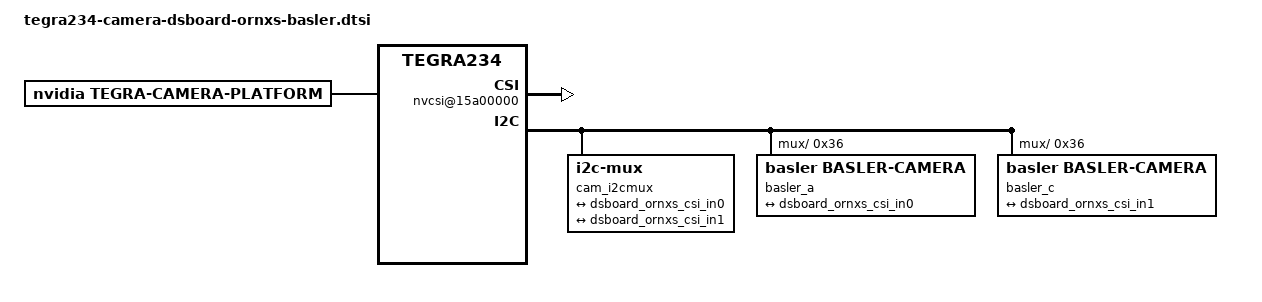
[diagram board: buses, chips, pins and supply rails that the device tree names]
/*
 * Copyright (c) 2022, NVIDIA CORPORATION.  All rights reserved.
 *
 * This program is free software; you can redistribute it and/or modify
 * it under the terms of the GNU General Public License as published by
 * the Free Software Foundation; either version 2 of the License, or
 * (at your option) any later version.
 *
 * This program is distributed in the hope that it will be useful, but WITHOUT
 * ANY WARRANTY; without even the implied warranty of MERCHANTABILITY or
 * FITNESS FOR A PARTICULAR PURPOSE.  See the GNU General Public License for
 * more details.
 *
 * You should have received a copy of the GNU General Public License
 * along with this program.  If not, see <http://www.gnu.org/licenses/>.
 */
#include <dt-bindings/media/camera.h>

/ {
	tegra-capture-vi  {
		num-channels = <2>;
		ports {
			#address-cells = <1>;
			#size-cells = <0>;
			port@0 {
				status = "okay";
				reg = <0>;
				dsboard_ornxs_vi_in0: endpoint {
					status = "okay";
					port-index = <0>;
					bus-width = <2>;
					remote-endpoint = <&dsboard_ornxs_csi_out0>;
				};
			};
			port@1 {
				status = "okay";
				reg = <1>;
				dsboard_ornxs_vi_in1: endpoint {
					status = "okay";
					port-index = <2>;
					bus-width = <2>;
					remote-endpoint = <&dsboard_ornxs_csi_out1>;
				};
			};
		};
	};

	host1x@13e00000 {
		nvcsi@15a00000 {
			num-channels = <2>;
			#address-cells = <1>;
			#size-cells = <0>;
			status = "okay";
			channel@0 {
				status = "okay";
				reg = <0>;
				ports {
					#address-cells = <1>;
					#size-cells = <0>;
					port@0 {
						status = "okay";
						reg = <0>;
						dsboard_ornxs_csi_in0: endpoint@0 {
							status = "okay";
							port-index = <0>;
							bus-width = <2>;
							remote-endpoint = <&dsboard_ornxs_basler_out0>;
						};
					};
					port@1 {
						status = "okay";
						reg = <1>;
						dsboard_ornxs_csi_out0: endpoint@1 {
							status = "okay";
							remote-endpoint = <&dsboard_ornxs_vi_in0>;
						};
					};
				};
			};
			channel@1 {
				status = "okay";
				reg = <1>;
				ports {
					#address-cells = <1>;
					#size-cells = <0>;
					port@0 {
						status = "okay";
						reg = <0>;
						dsboard_ornxs_csi_in1: endpoint@2 {
							status = "okay";
							port-index = <2>;
							bus-width = <2>;
							remote-endpoint = <&dsboard_ornxs_basler_out1>;
						};
					};
					port@1 {
						status = "okay";
						reg = <1>;
						dsboard_ornxs_csi_out1: endpoint@3 {
							status = "okay";
							remote-endpoint = <&dsboard_ornxs_vi_in1>;
						};
					};
				};
			};
		};
	};

	cam_i2cmux {
		i2c@0 {
			status = "okay";

			basler_a@36 {
				status="okay";

				compatible = "basler,basler-camera";
				/* I2C device address */
				reg = <0x36>;

				/* V4L2 device node location */
				devnode = "video0";

				/* Physical dimensions of sensor */
				physical_w = "3.680";
				physical_h = "2.760";

				sensor_model = "basler-mcm";

				mode0 {
					tegra_sinterface = "serial_a";
					lane_polarity = "6";
				};

				ports {
					#address-cells = <1>;
					#size-cells = <0>;

					port@0 {
						status = "okay";
						reg = <0>;
						dsboard_ornxs_basler_out0: endpoint {
							status = "okay";
							port-index = <0>;
							bus-width = <2>;
							remote-endpoint = <&dsboard_ornxs_csi_in0>;
							data-lanes = <1 2>;
							clock-lanes = <0>;
							link-frequencies = /bits/ 64 <600000000>;
						};
					};
				};
			};
		};

		i2c@1 {
			status = "okay";

			basler_c@36 {
				status="okay";

				compatible = "basler,basler-camera";
				/* I2C device address */
				reg = <0x36>;

				/* V4L2 device node location */
				devnode = "video1";

				/* Physical dimensions of sensor */
				physical_w = "3.680";
				physical_h = "2.760";

				sensor_model = "basler-mcm";

				mode0 {
					tegra_sinterface = "serial_c";
					lane_polarity = "0";
				};

				ports {
					#address-cells = <1>;
					#size-cells = <0>;

					port@0 {
						status = "okay";
						reg = <0>;
						dsboard_ornxs_basler_out1: endpoint {
							status = "okay";
							port-index = <2>;
							bus-width = <2>;
							remote-endpoint = <&dsboard_ornxs_csi_in1>;
							data-lanes = <1 2>;
							clock-lanes = <0>;
							link-frequencies = /bits/ 64 <600000000>;
						};
					};
				};
			};
		};
	};

	dsboard_ornxs_lens_basler@P5V27C {
		min_focus_distance = "0.0";
		hyper_focal = "0.0";
		focal_length = "3.04";
		f_number = "2.0";
		aperture = "0.0";
	};
};
/ {
	tegra-camera-platform {
		compatible = "nvidia, tegra-camera-platform";
		/**
		* Physical settings to calculate max ISO BW
		*
		* num_csi_lanes = <>;
		* Total number of CSI lanes when all cameras are active
		*
		* max_lane_speed = <>;
		* Max lane speed in Kbit/s
		*
		* min_bits_per_pixel = <>;
		* Min bits per pixel
		*
		* vi_peak_byte_per_pixel = <>;
		* Max byte per pixel for the VI ISO case
		*
		* vi_bw_margin_pct = <>;
		* Vi bandwidth margin in percentage
		*
		* max_pixel_rate = <>;
		* Max pixel rate in Kpixel/s for the ISP ISO case
		*
		* isp_peak_byte_per_pixel = <>;
		* Max byte per pixel for the ISP ISO case
		*
		* isp_bw_margin_pct = <>;
		* Isp bandwidth margin in percentage
		*/
		num_csi_lanes = <4>;
		max_lane_speed = <1500000>;
		min_bits_per_pixel = <10>;
		vi_peak_byte_per_pixel = <2>;
		vi_bw_margin_pct = <25>;
		max_pixel_rate = <240000>;
		isp_peak_byte_per_pixel = <5>;
		isp_bw_margin_pct = <25>;

		/**
		 * The general guideline for naming badge_info contains 3 parts, and is as follows,
		 * The first part is the camera_board_id for the module; if the module is in a FFD
		 * platform, then use the platform name for this part.
		 * The second part contains the position of the module, ex. "rear" or "front".
		 * The third part contains the last 6 characters of a part number which is found
		 * in the module's specsheet from the vendor.
		 */
		modules {
			module0 {
				status = "okay";
				badge = "dsboard_ornxs_front";
				position = "front";
				orientation = "1";
				drivernode0 {
					status = "okay";
					pcl_id = "v4l2_sensor";
					devname = "basler 9-0036";
					proc-device-tree = "/proc/device-tree/cam_i2cmux/i2c@0/basler_a@36";
				};
				drivernode1 {
					status = "okay";
					pcl_id = "v4l2_lens";
					proc-device-tree = "/proc/device-tree/dsboard_ornxs_lens_basler@P5V27C/";
				};
			};
			module1 {
				status = "okay";
				badge = "dsboard_ornxs_rear";
				position = "rear";
				orientation = "1";
				drivernode0 {
					status = "okay";
					pcl_id = "v4l2_sensor";
					devname = "basler 10-0036";
					proc-device-tree = "/proc/device-tree/cam_i2cmux/i2c@1/basler_c@36";
				};
				drivernode1 {
					status = "okay";
					pcl_id = "v4l2_lens";
					proc-device-tree = "/proc/device-tree/dsboard_ornxs_lens_basler@P5V27C/";
				};
			};
		};
	};
};
